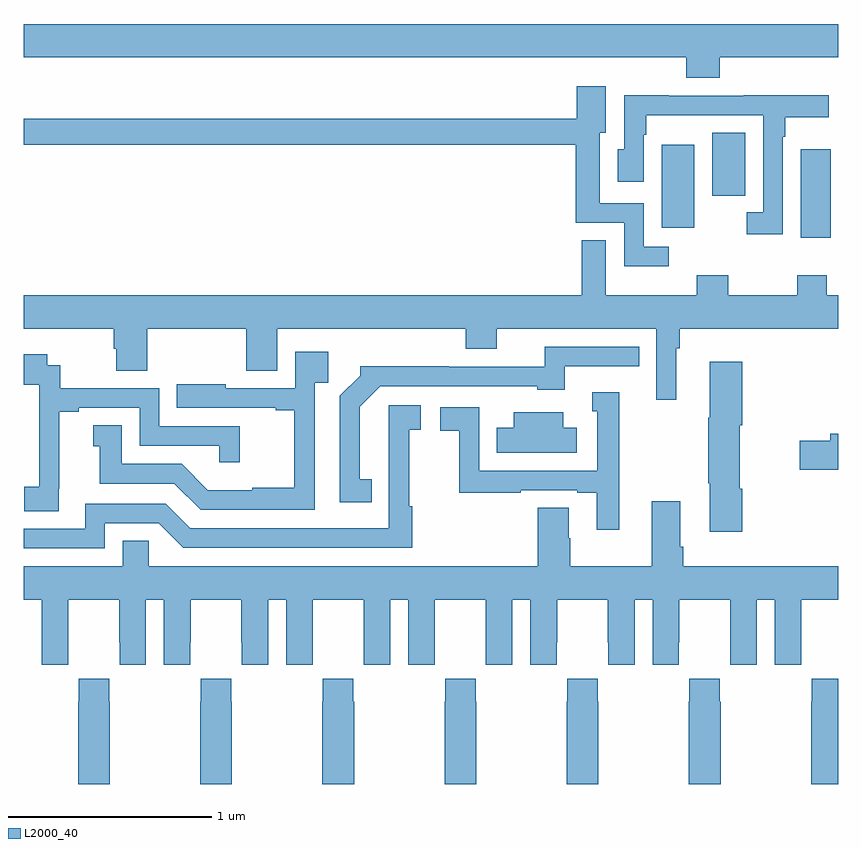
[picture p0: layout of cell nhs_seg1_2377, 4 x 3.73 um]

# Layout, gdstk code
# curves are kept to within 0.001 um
import gdstk
lib = gdstk.Library(unit=1e-6, precision=1e-09)
def R(c, l, rs):  # rectangles x0, y0, x1, y1
    for r in rs: c.add(gdstk.rectangle(r[:2], r[2:], *l))
def P(c, l, *ps):  # polygons
    for p in ps: c.add(gdstk.Polygon(p, *l))
L2000_40 = (2000, 40)

nhs_seg1_2377 = lib.new_cell('nhs_seg1_2377')
R(nhs_seg1_2377, L2000_40, [(244.817,514.883,244.963,515.317), (244.133,514.932,244.294,515.338), (244.382,515.088,244.543,515.399)])
P(nhs_seg1_2377, L2000_40, [(244.418,515.768),(245,515.768),(245,515.932),(241,515.932),(241,515.768),(244.253,515.768),(244.253,515.669),(244.418,515.669)],
  [(244.168,514.839),(244.044,514.839),(244.044,515.052),(243.829,515.052),(243.829,515.397),(243.859,515.397),(243.859,515.626),(243.716,515.626),(243.716,515.467),(241,515.467),(241,515.338),(243.711,515.338),(243.711,514.956),(243.948,514.956),(243.948,514.742),(244.168,514.742)],
  [(244.728,515.378),(244.741,515.378),(244.741,515.474),(244.954,515.474),(244.954,515.582),(244.535,515.582),(244.535,515.58),(244.169,515.58),(244.169,515.582),(243.948,515.582),(243.948,515.316),(243.917,515.316),(243.917,515.157),(244.044,515.157),(244.044,515.387),(244.057,515.387),(244.057,515.483),(244.286,515.483),(244.286,515.484),(244.632,515.484),(244.632,515.007),(244.551,515.007),(244.551,514.899),(244.728,514.899)],
  [(244.204,514.34),(244.223,514.34),(244.223,514.436),(245,514.436),(245,514.6),(244.945,514.6),(244.945,514.699),(244.798,514.699),(244.798,514.6),(244.461,514.6),(244.461,514.699),(244.306,514.699),(244.306,514.6),(243.859,514.6),(243.859,514.871),(243.741,514.871),(243.741,514.6),(241,514.6),(241,514.436),(241.442,514.436),(241.442,514.338),(241.454,514.338),(241.454,514.228),(241.607,514.228),(241.607,514.436),(242.093,514.436),(242.093,514.228),(242.245,514.228),(242.245,514.436),(243.17,514.436),(243.17,514.337),(243.322,514.337),(243.322,514.436),(244.107,514.436),(244.107,514.086),(244.204,514.086)],
  [(242.708,513.695),(242.65,513.695),(242.65,514.051),(242.751,514.152),(243.522,514.152),(243.522,514.136),(243.658,514.136),(243.658,514.251),(244.022,514.251),(244.022,514.347),(243.559,514.347),(243.559,514.248),(243.086,514.248),(243.086,514.25),(242.652,514.25),(242.652,514.205),(242.553,514.106),(242.553,513.582),(242.708,513.582)],
  [(242.43,514.169),(242.495,514.169),(242.495,514.321),(242.334,514.321),(242.334,514.143),(241.993,514.143),(241.993,514.162),(241.75,514.162),(241.75,514.047),(242.237,514.047),(242.237,514.035),(242.329,514.035),(242.329,513.655),(242.123,513.655),(242.123,513.643),(241.904,513.643),(241.776,513.771),(241.48,513.771),(241.48,513.962),(241.34,513.962),(241.34,513.859),(241.373,513.859),(241.373,513.675),(241.74,513.675),(241.869,513.546),(242.43,513.546)],
  [(241.172,513.649),(241.174,513.649),(241.174,514.027),(241.27,514.027),(241.27,514.047),(241.569,514.047),(241.569,513.861),(241.959,513.861),(241.959,513.78),(242.06,513.78),(242.06,513.957),(241.665,513.957),(241.665,514.143),(241.178,514.143),(241.178,514.257),(241.116,514.257),(241.116,514.309),(241,514.309),(241,514.161),(241.077,514.161),(241.077,513.857),(241.076,513.857),(241.076,513.66),(241.002,513.66),(241.002,513.538),(241.172,513.538)],
  [(244.529,513.65),(244.516,513.65),(244.516,513.96),(244.529,513.96),(244.529,514.273),(244.37,514.273),(244.37,513.998),(244.363,513.998),(244.363,513.676),(244.37,513.676),(244.37,513.438),(244.529,513.438)],
  [(243.925,514.123),(243.791,514.123),(243.791,514.029),(243.816,514.029),(243.816,513.738),(243.237,513.738),(243.237,514.05),(243.045,514.05),(243.045,513.934),(243.139,513.934),(243.139,513.63),(243.44,513.63),(243.44,513.642),(243.719,513.642),(243.719,513.63),(243.815,513.63),(243.815,513.447),(243.925,513.447)],
  [(241.398,513.48),(241.662,513.48),(241.782,513.36),(242.909,513.36),(242.909,513.563),(242.892,513.563),(242.892,513.939),(242.95,513.939),(242.95,514.06),(242.792,514.06),(242.793,513.456),(241.818,513.456),(241.698,513.576),(241.302,513.576),(241.302,513.453),(241,513.453),(241,513.357),(241.398,513.357)],
  [(243.715,513.949),(243.649,513.949),(243.649,514.024),(243.407,514.024),(243.407,513.949),(243.322,513.949),(243.322,513.827),(243.715,513.827)],
  [(245,513.92),(244.961,513.92),(244.961,513.884),(244.812,513.884),(244.812,513.742),(245,513.742)],
  [(241.218,512.896),(241.219,512.896),(241.219,513.104),(241.469,513.104),(241.469,512.896),(241.47,512.896),(241.47,512.784),(241.6,512.784),(241.6,513.104),(241.688,513.104),(241.688,512.784),(241.818,512.784),(241.818,512.896),(241.819,512.896),(241.819,513.104),(242.069,513.104),(242.069,512.896),(242.07,512.896),(242.07,512.784),(242.2,512.784),(242.2,513.104),(242.288,513.104),(242.288,512.784),(242.418,512.784),(242.418,512.896),(242.419,512.896),(242.419,513.104),(242.669,513.104),(242.669,512.896),(242.67,512.896),(242.67,512.784),(242.8,512.784),(242.8,513.104),(242.888,513.104),(242.888,512.784),(243.018,512.784),(243.018,512.896),(243.019,512.896),(243.019,513.104),(243.269,513.104),(243.269,512.896),(243.27,512.896),(243.27,512.784),(243.4,512.784),(243.4,513.104),(243.488,513.104),(243.488,512.784),(243.618,512.784),(243.618,512.896),(243.619,512.896),(243.619,513.104),(243.869,513.104),(243.869,512.896),(243.87,512.896),(243.87,512.784),(244,512.784),(244,513.104),(244.088,513.104),(244.088,512.784),(244.218,512.784),(244.218,512.896),(244.219,512.896),(244.219,513.104),(244.469,513.104),(244.469,512.896),(244.47,512.896),(244.47,512.784),(244.6,512.784),(244.6,513.104),(244.688,513.104),(244.688,512.784),(244.818,512.784),(244.818,512.896),(244.819,512.896),(244.819,513.104),(245,513.104),(245,513.268),(244.238,513.268),(244.238,513.364),(244.225,513.364),(244.225,513.589),(244.085,513.589),(244.085,513.268),(243.684,513.268),(243.684,513.407),(243.676,513.407),(243.676,513.557),(243.524,513.557),(243.524,513.268),(241.614,513.268),(241.614,513.395),(241.487,513.395),(241.487,513.268),(241,513.268),(241,513.104),(241.088,513.104),(241.088,512.784),(241.218,512.784)],
  [(241.422,512.603),(241.419,512.603),(241.419,512.716),(241.269,512.716),(241.269,512.603),(241.267,512.603),(241.267,512.199),(241.422,512.199)],
  [(242.022,512.603),(242.019,512.603),(242.019,512.716),(241.869,512.716),(241.869,512.603),(241.867,512.603),(241.867,512.199),(242.022,512.199)],
  [(242.622,512.603),(242.619,512.603),(242.619,512.716),(242.469,512.716),(242.469,512.603),(242.467,512.603),(242.467,512.199),(242.622,512.199)],
  [(243.222,512.603),(243.219,512.603),(243.219,512.716),(243.069,512.716),(243.069,512.603),(243.067,512.603),(243.067,512.199),(243.222,512.199)],
  [(243.822,512.603),(243.819,512.603),(243.819,512.716),(243.669,512.716),(243.669,512.603),(243.667,512.603),(243.667,512.199),(243.822,512.199)],
  [(244.422,512.603),(244.419,512.603),(244.419,512.716),(244.269,512.716),(244.269,512.603),(244.267,512.603),(244.267,512.199),(244.422,512.199)],
  [(245,512.716),(244.869,512.716),(244.869,512.603),(244.867,512.603),(244.867,512.199),(245,512.199)])

lib.write_gds('nhs_seg1_2377.gds')
